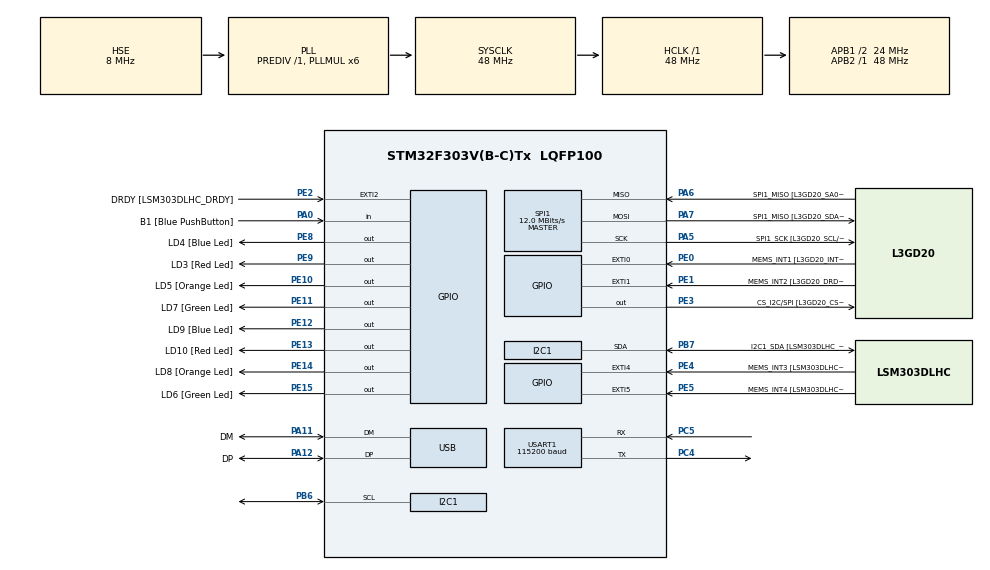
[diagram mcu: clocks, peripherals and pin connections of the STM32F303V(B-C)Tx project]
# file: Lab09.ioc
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I2C1.Timing=0x00201D2B
Mcu.Family=STM32F3
Mcu.Name=STM32F303V(B-C)Tx
Mcu.Package=LQFP100
NVIC.PriorityGroup=NVIC_PRIORITYGROUP_0
PA0.GPIO_Label=B1 [Blue PushButton]
PA0.Signal=GPIO_Input
PA11.GPIO_Label=DM
PA11.Mode=Device
PA11.Signal=USB_DM
PA12.GPIO_Label=DP
PA12.Mode=Device
PA12.Signal=USB_DP
PA13.GPIO_Label=SWDIO
PA13.Mode=Serial_Wire
PA13.Signal=SYS_JTMS-SWDIO
PA14.GPIO_Label=SWCLK
PA14.Mode=Serial_Wire
PA14.Signal=SYS_JTCK-SWCLK
PA5.GPIO_Label=SPI1_SCK [L3GD20_SCL/SPC]
PA5.Mode=Full_Duplex_Master
PA5.Signal=SPI1_SCK
PA6.GPIO_Label=SPI1_MISO [L3GD20_SA0/SDO]
PA6.Mode=Full_Duplex_Master
PA6.Signal=SPI1_MISO
PA7.GPIO_Label=SPI1_MISO [L3GD20_SDA/SDI/SDO]
PA7.Mode=Full_Duplex_Master
PA7.Signal=SPI1_MOSI
PB3.GPIO_Label=SWO
PB3.Signal=SYS_JTDO-TRACESWO
PB6.Mode=I2C
PB6.Signal=I2C1_SCL
PB7.GPIO_Label=I2C1_SDA [LSM303DLHC_SDA]
PB7.GPIO_Pu=GPIO_PULLUP
PB7.Mode=I2C
PB7.Signal=I2C1_SDA
PC14-OSC32_IN.GPIO_Label=OSC32_IN
PC14-OSC32_IN.Signal=RCC_OSC32_IN
PC15-OSC32_OUT.GPIO_Label=OSC32_OUT
PC15-OSC32_OUT.Signal=RCC_OSC32_OUT
PC4.Mode=Asynchronous
PC4.Signal=USART1_TX
PC5.Mode=Asynchronous
PC5.Signal=USART1_RX
PE0.GPIO_Label=MEMS_INT1 [L3GD20_INT1]
PE0.GPIO_ModeDefaultEXTI=GPIO_MODE_EVT_RISING
PE0.Signal=GPXTI0
PE1.GPIO_Label=MEMS_INT2 [L3GD20_DRDY/INT2]
PE1.GPIO_ModeDefaultEXTI=GPIO_MODE_EVT_RISING
PE1.Signal=GPXTI1
PE10.GPIO_Label=LD5 [Orange Led]
PE10.Signal=GPIO_Output
PE11.GPIO_Label=LD7 [Green Led]
PE11.Signal=GPIO_Output
PE12.GPIO_Label=LD9 [Blue Led]
PE12.Signal=GPIO_Output
PE13.GPIO_Label=LD10 [Red Led]
PE13.Signal=GPIO_Output
PE14.GPIO_Label=LD8 [Orange Led]
PE14.Signal=GPIO_Output
PE15.GPIO_Label=LD6 [Green Led]
PE15.Signal=GPIO_Output
PE2.GPIO_Label=DRDY [LSM303DLHC_DRDY]
PE2.GPIO_ModeDefaultEXTI=GPIO_MODE_EVT_RISING
PE2.Signal=GPXTI2
PE3.GPIO_Label=CS_I2C/SPI [L3GD20_CS_I2C/SPI]
PE3.Signal=GPIO_Output
PE4.GPIO_Label=MEMS_INT3 [LSM303DLHC_INT1]
PE4.GPIO_ModeDefaultEXTI=GPIO_MODE_EVT_RISING
PE4.Signal=GPXTI4
PE5.GPIO_Label=MEMS_INT4 [LSM303DLHC_INT2]
PE5.GPIO_ModeDefaultEXTI=GPIO_MODE_EVT_RISING
PE5.Signal=GPXTI5
PE8.GPIO_Label=LD4 [Blue Led]
PE8.Signal=GPIO_Output
PE9.GPIO_Label=LD3 [Red Led]
PE9.Signal=GPIO_Output
PF0-OSC_IN.GPIO_Label=OSC_IN
PF0-OSC_IN.Mode=HSE-External-Clock-Source
PF0-OSC_IN.Signal=RCC_OSC_IN
PF1-OSC_OUT.GPIO_Label=OSC_OUT
PF1-OSC_OUT.Signal=RCC_OSC_OUT
ProjectManager.HeapSize=0x200
ProjectManager.StackSize=0x400
ProjectManager.TargetToolchain=CMake
RCC.AHBFreq_Value=48000000
RCC.APB1CLKDivider=RCC_HCLK_DIV2
RCC.APB1Freq_Value=24000000
RCC.APB1TimFreq_Value=48000000
RCC.APB2Freq_Value=48000000
RCC.APB2TimFreq_Value=48000000
RCC.CortexFreq_Value=48000000
RCC.HCLKFreq_Value=48000000
RCC.HSE_VALUE=8000000
RCC.HSI_VALUE=8000000
RCC.LSE_VALUE=32768
RCC.PLLMUL=RCC_PLL_MUL6
RCC.SYSCLKFreq_VALUE=48000000
RCC.SYSCLKSourceVirtual=RCC_SYSCLKSOURCE_PLLCLK
RCC.USBFreq_Value=48000000
SPI1.BaudRatePrescaler=SPI_BAUDRATEPRESCALER_4
SPI1.BaudRatePrescaler-Full_Duplex_Master=SPI_BAUDRATEPRESCALER_2
SPI1.CalculateBaudRate=12.0 MBits/s
SPI1.CalculateBaudRate-Full_Duplex_Master=24.0 MBits/s
SPI1.Direction=SPI_DIRECTION_2LINES
SPI1.Mode=SPI_MODE_MASTER
SPI1.Mode-Full_Duplex_Master=SPI_MODE_MASTER
SPI1.VirtualType=VM_MASTER
USART1.BaudRate=115200
USART1.VirtualMode-Asynchronous=VM_ASYNC
board=STM32F3DISCOVERY

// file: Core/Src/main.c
/* USER CODE BEGIN Header */
/**
  ******************************************************************************
  * @file           : main.c
  * @brief          : Main program body
  ******************************************************************************
  * @attention
  *
  * Copyright (c) 2026 STMicroelectronics.
  * All rights reserved.
  *
  * This software is licensed under terms that can be found in the LICENSE file
  * in the root directory of this software component.
  * If no LICENSE file comes with this software, it is provided AS-IS.
  *
  ******************************************************************************
  */
/* USER CODE END Header */
#include "main.h"

/* USER CODE BEGIN Includes */
#include <string.h>
#include <stdio.h>
#include <math.h>
/* USER CODE END Includes */

/* USER CODE BEGIN PTD */
typedef struct {
    int16_t raw_ax, raw_ay, raw_az;
    float ax, ay, az;
    float acc_offset_x, acc_offset_y, acc_offset_z;
    float angle_x, angle_y;
} LSM_Data;
/* USER CODE END PTD */

/* USER CODE BEGIN PD */
#define LSM_WRITE_ADDR   0x32
#define LSM_READ_ADDR    0x33
#define CTRL_REG1_A      0x20
#define CTRL_REG4_A      0x23
#define OUT_X_L_A        0x28
#define RAD_TO_DEG       57.2958f
#define SAMPLES          20
/* USER CODE END PD */

I2C_HandleTypeDef hi2c1;

SPI_HandleTypeDef hspi1;

UART_HandleTypeDef huart1;

PCD_HandleTypeDef hpcd_USB_FS;

/* USER CODE BEGIN PV */
LSM_Data lsm;
uint8_t rx_buf[6];
char msg[100];
/* USER CODE END PV */

void SystemClock_Config(void);
static void MX_GPIO_Init(void);
static void MX_I2C1_Init(void);
static void MX_SPI1_Init(void);
static void MX_USART1_UART_Init(void);
static void MX_USB_PCD_Init(void);

/* USER CODE BEGIN 0 */
void Init_LSM(void)
{
    HAL_GPIO_WritePin(GPIOE, CS_I2C_SPI_Pin, GPIO_PIN_SET);
    HAL_Delay(10);

    uint8_t val = 0x67;
    HAL_I2C_Mem_Write(&hi2c1, LSM_WRITE_ADDR, CTRL_REG1_A,
                      I2C_MEMADD_SIZE_8BIT, &val, 1, HAL_MAX_DELAY);

    val = 0x00;
    HAL_I2C_Mem_Write(&hi2c1, LSM_WRITE_ADDR, CTRL_REG4_A,
                      I2C_MEMADD_SIZE_8BIT, &val, 1, HAL_MAX_DELAY);
    HAL_Delay(10);
}

void Read_LSM(LSM_Data *d)
{
    uint8_t buf[6];
    HAL_I2C_Mem_Read(&hi2c1, LSM_READ_ADDR, OUT_X_L_A | 0x80,
                     I2C_MEMADD_SIZE_8BIT, buf, 6, HAL_MAX_DELAY);

    d->raw_ax = (int16_t)((buf[1] << 8) | buf[0]);
    d->raw_ay = (int16_t)((buf[3] << 8) | buf[2]);
    d->raw_az = (int16_t)((buf[5] << 8) | buf[4]);

    d->ax = ((d->raw_ax >> 6) * 3.9f / 1000.0f) - d->acc_offset_x;
    d->ay = ((d->raw_ay >> 6) * 3.9f / 1000.0f) - d->acc_offset_y;
    d->az = ((d->raw_az >> 6) * 3.9f / 1000.0f) - d->acc_offset_z;

    d->angle_x = atan2f(d->ay, d->az) * 57.2958f;
    d->angle_y = atan2f(-d->ax, sqrtf(d->ay*d->ay + d->az*d->az)) * 57.2958f;
}

void Offset_LSM(LSM_Data *d)
{
    float sum_x = 0, sum_y = 0, sum_z = 0;
    uint8_t buf[6];

    for (int i = 0; i < 20; i++)
    {
        HAL_I2C_Mem_Read(&hi2c1, LSM_READ_ADDR, OUT_X_L_A | 0x80,
                         I2C_MEMADD_SIZE_8BIT, buf, 6, HAL_MAX_DELAY);

        int16_t rx = (int16_t)((buf[1] << 8) | buf[0]);
        int16_t ry = (int16_t)((buf[3] << 8) | buf[2]);
        int16_t rz = (int16_t)((buf[5] << 8) | buf[4]);

        sum_x += (rx >> 6) * 3.9f / 1000.0f;
        sum_y += (ry >> 6) * 3.9f / 1000.0f;
        sum_z += (rz >> 6) * 3.9f / 1000.0f;

        HAL_Delay(10);
    }

    d->acc_offset_x = sum_x / 20;
    d->acc_offset_y = sum_y / 20;
    d->acc_offset_z = (sum_z / 20) - 1.0f;
}

void Print_LSM(LSM_Data *d)
{
    int ax = (int)(d->ax * 1000);
    int ay = (int)(d->ay * 1000);
    int az = (int)(d->az * 1000);
    int angX = (int)(d->angle_x * 100);
    int angY = (int)(d->angle_y * 100);

    char buf[128];
    snprintf(buf, sizeof(buf),
             "Ax:%d.%03d,Ay:%d.%03d,Az:%d.%03d,AngX:%d.%02d,AngY:%d.%02d\r\n",
             ax/1000, ax%1000 < 0 ? -(ax%1000) : ax%1000,
             ay/1000, ay%1000 < 0 ? -(ay%1000) : ay%1000,
             az/1000, az%1000 < 0 ? -(az%1000) : az%1000,
             angX/100, angX%100 < 0 ? -(angX%100) : angX%100,
             angY/100, angY%100 < 0 ? -(angY%100) : angY%100);

    HAL_UART_Transmit(&huart1, (uint8_t*)buf, strlen(buf), HAL_MAX_DELAY);
}
/* USER CODE END 0 */

int main(void)
{

  /* MCU Configuration--------------------------------------------------------*/

  /* Reset of all peripherals, Initializes the Flash interface and the Systick. */
  HAL_Init();

  /* Configure the system clock */
  SystemClock_Config();

  /* Initialize all configured peripherals */
  MX_GPIO_Init();
  MX_I2C1_Init();
  MX_SPI1_Init();
  MX_USART1_UART_Init();
  MX_USB_PCD_Init();
  /* USER CODE BEGIN 2 */
//   HAL_GPIO_WritePin(GPIOE, CS_I2C_SPI_Pin, GPIO_PIN_SET);
//   HAL_Delay(10);
// uint8_t cfg1 = 0x57;
// HAL_I2C_Mem_Write(&hi2c1, LSM303_ADDR, CTRL_REG1_A,
//                   I2C_MEMADD_SIZE_8BIT, &cfg1, 1, HAL_MAX_DELAY);

// // Read WHO_AM_I once
// HAL_I2C_Mem_Read(&hi2c1, LSM303_ADDR, WHO_AM_I_REG,
//                  I2C_MEMADD_SIZE_8BIT, &who_am_i, 1, HAL_MAX_DELAY);

// sprintf(msg, "WHO_AM_I = 0x%02X\r\n", who_am_i);
// HAL_UART_Transmit(&huart1, (uint8_t*)msg, strlen(msg), HAL_MAX_DELAY);
Init_LSM();
Offset_LSM(&lsm);  // keep board flat and still during this
  /* USER CODE END 2 */

  /* Infinite loop */
  while (1)
  {

    /* USER CODE BEGIN 3 */
    Read_LSM(&lsm);
    Print_LSM(&lsm);
    HAL_Delay(100);

  }
  /* USER CODE END 3 */
}

void SystemClock_Config(void)
{
  RCC_OscInitTypeDef RCC_OscInitStruct = {0};
  RCC_ClkInitTypeDef RCC_ClkInitStruct = {0};
  RCC_PeriphCLKInitTypeDef PeriphClkInit = {0};

  /** Initializes the RCC Oscillators according to the specified parameters
  * in the RCC_OscInitTypeDef structure.
  */
  RCC_OscInitStruct.OscillatorType = RCC_OSCILLATORTYPE_HSI|RCC_OSCILLATORTYPE_HSE;
  RCC_OscInitStruct.HSEState = RCC_HSE_BYPASS;
  RCC_OscInitStruct.HSEPredivValue = RCC_HSE_PREDIV_DIV1;
  RCC_OscInitStruct.HSIState = RCC_HSI_ON;
  RCC_OscInitStruct.HSICalibrationValue = RCC_HSICALIBRATION_DEFAULT;
  RCC_OscInitStruct.PLL.PLLState = RCC_PLL_ON;
  RCC_OscInitStruct.PLL.PLLSource = RCC_PLLSOURCE_HSE;
  RCC_OscInitStruct.PLL.PLLMUL = RCC_PLL_MUL6;
  if (HAL_RCC_OscConfig(&RCC_OscInitStruct) != HAL_OK)
  {
    Error_Handler();
  }

  /** Initializes the CPU, AHB and APB buses clocks
  */
  RCC_ClkInitStruct.ClockType = RCC_CLOCKTYPE_HCLK|RCC_CLOCKTYPE_SYSCLK
                              |RCC_CLOCKTYPE_PCLK1|RCC_CLOCKTYPE_PCLK2;
  RCC_ClkInitStruct.SYSCLKSource = RCC_SYSCLKSOURCE_PLLCLK;
  RCC_ClkInitStruct.AHBCLKDivider = RCC_SYSCLK_DIV1;
  RCC_ClkInitStruct.APB1CLKDivider = RCC_HCLK_DIV2;
  RCC_ClkInitStruct.APB2CLKDivider = RCC_HCLK_DIV1;

  if (HAL_RCC_ClockConfig(&RCC_ClkInitStruct, FLASH_LATENCY_1) != HAL_OK)
  {
    Error_Handler();
  }
  PeriphClkInit.PeriphClockSelection = RCC_PERIPHCLK_USB|RCC_PERIPHCLK_USART1
                              |RCC_PERIPHCLK_I2C1;
  PeriphClkInit.Usart1ClockSelection = RCC_USART1CLKSOURCE_PCLK2;
  PeriphClkInit.I2c1ClockSelection = RCC_I2C1CLKSOURCE_HSI;
  PeriphClkInit.USBClockSelection = RCC_USBCLKSOURCE_PLL;
  if (HAL_RCCEx_PeriphCLKConfig(&PeriphClkInit) != HAL_OK)
  {
    Error_Handler();
  }
}

static void MX_I2C1_Init(void)
{

  hi2c1.Instance = I2C1;
  hi2c1.Init.Timing = 0x00201D2B;
  hi2c1.Init.OwnAddress1 = 0;
  hi2c1.Init.AddressingMode = I2C_ADDRESSINGMODE_7BIT;
  hi2c1.Init.DualAddressMode = I2C_DUALADDRESS_DISABLE;
  hi2c1.Init.OwnAddress2 = 0;
  hi2c1.Init.OwnAddress2Masks = I2C_OA2_NOMASK;
  hi2c1.Init.GeneralCallMode = I2C_GENERALCALL_DISABLE;
  hi2c1.Init.NoStretchMode = I2C_NOSTRETCH_DISABLE;
  if (HAL_I2C_Init(&hi2c1) != HAL_OK)
  {
    Error_Handler();
  }

  /** Configure Analogue filter
  */
  if (HAL_I2CEx_ConfigAnalogFilter(&hi2c1, I2C_ANALOGFILTER_ENABLE) != HAL_OK)
  {
    Error_Handler();
  }

  /** Configure Digital filter
  */
  if (HAL_I2CEx_ConfigDigitalFilter(&hi2c1, 0) != HAL_OK)
  {
    Error_Handler();
  }

}

static void MX_SPI1_Init(void)
{

  /* SPI1 parameter configuration*/
  hspi1.Instance = SPI1;
  hspi1.Init.Mode = SPI_MODE_MASTER;
  hspi1.Init.Direction = SPI_DIRECTION_2LINES;
  hspi1.Init.DataSize = SPI_DATASIZE_4BIT;
  hspi1.Init.CLKPolarity = SPI_POLARITY_LOW;
  hspi1.Init.CLKPhase = SPI_PHASE_1EDGE;
  hspi1.Init.NSS = SPI_NSS_SOFT;
  hspi1.Init.BaudRatePrescaler = SPI_BAUDRATEPRESCALER_4;
  hspi1.Init.FirstBit = SPI_FIRSTBIT_MSB;
  hspi1.Init.TIMode = SPI_TIMODE_DISABLE;
  hspi1.Init.CRCCalculation = SPI_CRCCALCULATION_DISABLE;
  hspi1.Init.CRCPolynomial = 7;
  hspi1.Init.CRCLength = SPI_CRC_LENGTH_DATASIZE;
  hspi1.Init.NSSPMode = SPI_NSS_PULSE_ENABLE;
  if (HAL_SPI_Init(&hspi1) != HAL_OK)
  {
    Error_Handler();
  }

}

static void MX_USART1_UART_Init(void)
{

  huart1.Instance = USART1;
  huart1.Init.BaudRate = 115200;
  huart1.Init.WordLength = UART_WORDLENGTH_8B;
  huart1.Init.StopBits = UART_STOPBITS_1;
  huart1.Init.Parity = UART_PARITY_NONE;
  huart1.Init.Mode = UART_MODE_TX_RX;
  huart1.Init.HwFlowCtl = UART_HWCONTROL_NONE;
  huart1.Init.OverSampling = UART_OVERSAMPLING_16;
  huart1.Init.OneBitSampling = UART_ONE_BIT_SAMPLE_DISABLE;
  huart1.AdvancedInit.AdvFeatureInit = UART_ADVFEATURE_NO_INIT;
  if (HAL_UART_Init(&huart1) != HAL_OK)
  {
    Error_Handler();
  }

}

static void MX_USB_PCD_Init(void)
{

  hpcd_USB_FS.Instance = USB;
  hpcd_USB_FS.Init.dev_endpoints = 8;
  hpcd_USB_FS.Init.speed = PCD_SPEED_FULL;
  hpcd_USB_FS.Init.phy_itface = PCD_PHY_EMBEDDED;
  hpcd_USB_FS.Init.low_power_enable = DISABLE;
  hpcd_USB_FS.Init.battery_charging_enable = DISABLE;
  if (HAL_PCD_Init(&hpcd_USB_FS) != HAL_OK)
  {
    Error_Handler();
  }

}

static void MX_GPIO_Init(void)
{
  GPIO_InitTypeDef GPIO_InitStruct = {0};

  /* GPIO Ports Clock Enable */
  __HAL_RCC_GPIOE_CLK_ENABLE();
  __HAL_RCC_GPIOC_CLK_ENABLE();
  __HAL_RCC_GPIOF_CLK_ENABLE();
  __HAL_RCC_GPIOA_CLK_ENABLE();
  __HAL_RCC_GPIOB_CLK_ENABLE();

  /*Configure GPIO pin Output Level */
  HAL_GPIO_WritePin(GPIOE, CS_I2C_SPI_Pin|LD4_Pin|LD3_Pin|LD5_Pin
                          |LD7_Pin|LD9_Pin|LD10_Pin|LD8_Pin
                          |LD6_Pin, GPIO_PIN_RESET);

  /*Configure GPIO pins : DRDY_Pin MEMS_INT3_Pin MEMS_INT4_Pin MEMS_INT1_Pin
                           MEMS_INT2_Pin */
  GPIO_InitStruct.Pin = DRDY_Pin|MEMS_INT3_Pin|MEMS_INT4_Pin|MEMS_INT1_Pin
                          |MEMS_INT2_Pin;
  GPIO_InitStruct.Mode = GPIO_MODE_EVT_RISING;
  GPIO_InitStruct.Pull = GPIO_NOPULL;
  HAL_GPIO_Init(GPIOE, &GPIO_InitStruct);

  /*Configure GPIO pins : CS_I2C_SPI_Pin LD4_Pin LD3_Pin LD5_Pin
                           LD7_Pin LD9_Pin LD10_Pin LD8_Pin
                           LD6_Pin */
  GPIO_InitStruct.Pin = CS_I2C_SPI_Pin|LD4_Pin|LD3_Pin|LD5_Pin
                          |LD7_Pin|LD9_Pin|LD10_Pin|LD8_Pin
                          |LD6_Pin;
  GPIO_InitStruct.Mode = GPIO_MODE_OUTPUT_PP;
  GPIO_InitStruct.Pull = GPIO_NOPULL;
  GPIO_InitStruct.Speed = GPIO_SPEED_FREQ_LOW;
  HAL_GPIO_Init(GPIOE, &GPIO_InitStruct);

  /*Configure GPIO pin : B1_Pin */
  GPIO_InitStruct.Pin = B1_Pin;
  GPIO_InitStruct.Mode = GPIO_MODE_INPUT;
  GPIO_InitStruct.Pull = GPIO_NOPULL;
  HAL_GPIO_Init(B1_GPIO_Port, &GPIO_InitStruct);

}

void Error_Handler(void)
{
  __disable_irq();
  while (1)
  {
  }
}
